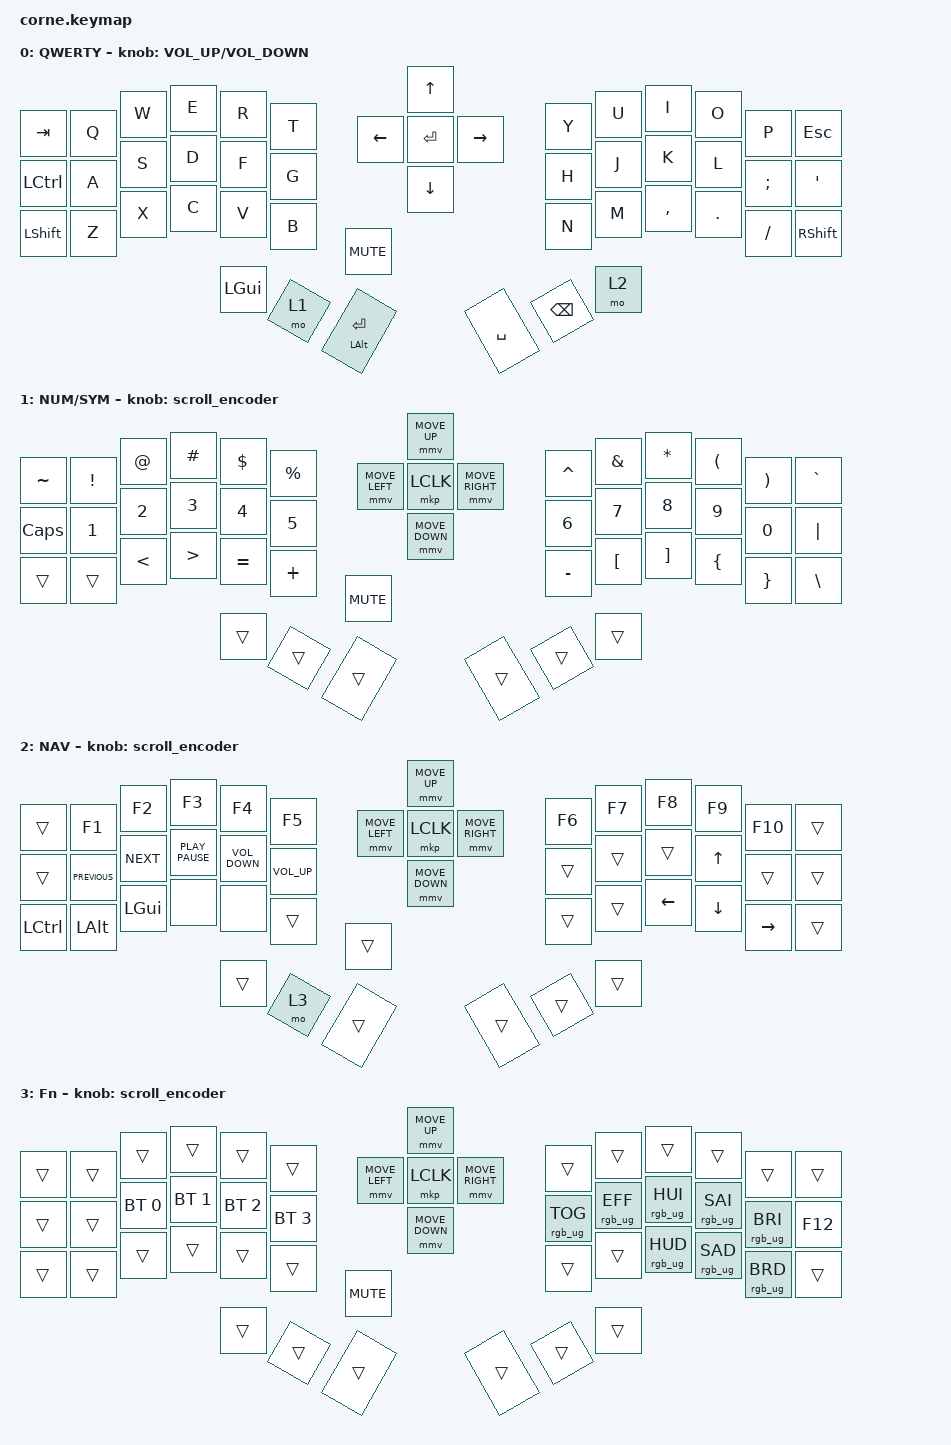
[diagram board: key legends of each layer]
#include <behaviors/mouse_keys.dtsi>
#include <dt-bindings/zmk/mouse.h>
#include <behaviors.dtsi>
#include <dt-bindings/zmk/bt.h>
#include <dt-bindings/zmk/keys.h>
#include <dt-bindings/zmk/pointing.h>
#include <dt-bindings/zmk/rgb.h>

#define ZMK_MOUSE_DEFAULT_MOVE_VAL 1200  // 600
#define ZMK_MOUSE_DEFAULT_SCRL_VAL 20    // 10
#define U_MS_U &mmv MOVE_UP
#define U_MS_D &mmv MOVE_DOWN
#define U_MS_L &mmv MOVE_LEFT
#define U_MS_R &mmv MOVE_RIGHT

/ {
    behaviors {
        td0: td0 {
            compatible = "zmk,behavior-tap-dance";
            label = "TD0";
            #binding-cells = <0>;
            bindings = <&kp LEFT_SHIFT>, <&kp CAPS>;
        };

        mmv {
            acceleration-exponent = <1>;      // 1
            time-to-max-speed-ms = <900>;    // 40
            delay-ms = <0>;                   // 0
        };

        msc {
            acceleration-exponent = <1>;      // 0
            time-to-max-speed-ms = <400>;      // 500
            delay-ms = <0>;                   // 10
        };
    };

    rgb_encoder: rgb_encoder {
        compatible = "zmk,behavior-sensor-rotate";
        label = "RGB_ENCODER";
        #sensor-binding-cells = <0>;
        bindings = <&rgb_ug RGB_BRI>, <&rgb_ug RGB_BRD>;
    };

    scroll_encoder: scroll_encoder {
        compatible = "zmk,behavior-sensor-rotate";
        #sensor-binding-cells = <0>;
        bindings = <&msc SCRL_DOWN>, <&msc SCRL_UP>;

        tap-ms = <30>;
    };

    keymap {
        compatible = "zmk,keymap";

        default_layer {
            display-name = "QWERTY";

            // --------------------------------------------------------------------------------
            // |  TAB |  Q  |  W  |  E  |  R  |  T  |                ↑    |  Y  |  U   |  I  |  O  |  P  | BKSP |      &kp UP_ARROW 
            // | SHIFT |  A  |  S  |  D  |  F  |  G  |               ↓    |  H  |  J   |  K  |  L  |  ;  |  '   | 
            // | CTRL |  Z  |  X  |  C  |  V  |  B  |                ←    |  N  |  M   |  ,  |  .  |  /  | ESC  |
            //                    | GUI | LWR | SPC |                →    | ENT | RSE  | ALT |
            //                                                      enter

            bindings = <
&kp TAB         &kp Q  &kp W       &kp E     &kp R  &kp T                 &kp UP_ARROW     &kp Y      &kp U          &kp I      &kp O    &kp P     &kp ESC
&kp LCTRL       &kp A  &kp S       &kp D     &kp F  &kp G                 &kp DOWN_ARROW   &kp H      &kp J          &kp K      &kp L    &kp SEMI  &kp SQT
&kp LEFT_SHIFT  &kp Z  &kp X       &kp C     &kp V  &kp B                 &kp LEFT_ARROW   &kp N      &kp M          &kp COMMA  &kp DOT  &kp FSLH  &kp RIGHT_SHIFT
                       &kp K_MUTE  &kp LGUI  &mo 1  &mt LEFT_ALT ENTER    &kp RIGHT_ARROW  &kp SPACE  &kp BACKSPACE  &mo 2
                                                                          &kp ENTER
            >;

            label = "QWERTY";
            sensor-bindings = <&inc_dec_kp C_VOLUME_UP C_VOLUME_DOWN>;
        };

        lower_layer {
            display-name = "NUM/SYM";

            // -----------------------------------------------------------------------------------------
            // |  TAB |  1  |  2  |  3  |  4  |  5  |   |  6  |  7  |  8  |  9  |  0  | BKSP |
            // | BTCLR| BT1 | BT2 | BT3 | BT4 | BT5 |   | LFT | DWN |  UP | RGT |     |      |
            // | SHFT |     |     |     |     |     |   |     |     |     |     |     |      |
            //                    | GUI |     | SPC |   | ENT |     | ALT |

            bindings = <
&kp TILDE  &kp EXCL      &kp AT         &kp HASH          &kp DLLR   &kp PERCENT    &mmv MOVE_UP     &kp CARET  &kp AMPS          &kp ASTRK          &kp LEFT_PARENTHESIS  &kp RIGHT_PARENTHESIS  &kp GRAVE
&kp CAPS   &kp NUMBER_1  &kp NUMBER_2   &kp N3            &kp N4     &kp N5         &mmv MOVE_DOWN   &kp N6     &kp N7            &kp N8             &kp N9                &kp N0                 &kp PIPE
&trans     &trans        &kp LESS_THAN  &kp GREATER_THAN  &kp EQUAL  &kp PLUS       &mmv MOVE_LEFT   &kp MINUS  &kp LEFT_BRACKET  &kp RIGHT_BRACKET  &kp LEFT_BRACE        &kp RIGHT_BRACE        &kp BACKSLASH
                         &kp C_MUTE     &trans            &trans     &trans         &mmv MOVE_RIGHT  &trans     &trans            &trans
                                                                                    &mkp LCLK
            >;

            label = "NUMBER";
            sensor-bindings = <&scroll_encoder>;
        };

        raise_layer {
            display-name = "NAV";

            // -----------------------------------------------------------------------------------------
            // |  TAB |  !  |  @  |  #  |  $  |  %  |   |  ^  |  &  |  *  |  (  |  )  | BKSP |
            // | CTRL |     |     |     |     |     |   |  -  |  =  |  [  |  ]  |  \  |  `   |
            // | SHFT |     |     |     |     |     |   |  _  |  +  |  {  |  }  | "|" |  ~   |
            //                    | GUI |     | SPC |   | ENT |     | ALT |

            bindings = <
&trans     &kp F1          &kp F2      &kp F3            &kp F4             &kp F5             &mmv MOVE_UP     &kp F6  &kp F7  &kp F8          &kp F9        &kp F10    &trans
&trans     &kp K_PREVIOUS  &kp K_NEXT  &kp K_PLAY_PAUSE  &kp C_VOLUME_DOWN  &kp C_VOLUME_UP    &mmv MOVE_DOWN   &trans  &trans  &trans          &kp UP_ARROW  &trans     &trans
&kp LCTRL  &kp LEFT_ALT    &kp LGUI    &none             &none              &trans             &mmv MOVE_LEFT   &trans  &trans  &kp LEFT_ARROW  &kp DOWN      &kp RIGHT  &trans
                           &trans      &trans            &mo 3              &trans             &mmv MOVE_RIGHT  &trans  &trans  &trans
                                                                                               &mkp LCLK
            >;

            label = "SYMBOL";
            sensor-bindings = <&scroll_encoder>;
        };

        layer_3 {
            display-name = "Fn";
            bindings = <
&trans  &trans  &trans        &trans        &trans        &trans          &mmv MOVE_UP     &trans           &trans           &trans           &trans           &trans           &trans
&trans  &trans  &bt BT_SEL 0  &bt BT_SEL 1  &bt BT_SEL 2  &bt BT_SEL 3    &mmv MOVE_DOWN   &rgb_ug RGB_TOG  &rgb_ug RGB_EFF  &rgb_ug RGB_HUI  &rgb_ug RGB_SAI  &rgb_ug RGB_BRI  &kp F12
&trans  &trans  &trans        &trans        &trans        &trans          &mmv MOVE_LEFT   &trans           &trans           &rgb_ug RGB_HUD  &rgb_ug RGB_SAD  &rgb_ug RGB_BRD  &trans
                &kp C_MUTE    &trans        &trans        &trans          &mmv MOVE_RIGHT  &trans           &trans           &trans
                                                                          &mkp LCLK
            >;

            label = "FN";
            sensor-bindings = <&scroll_encoder>;
        };
    };
};
